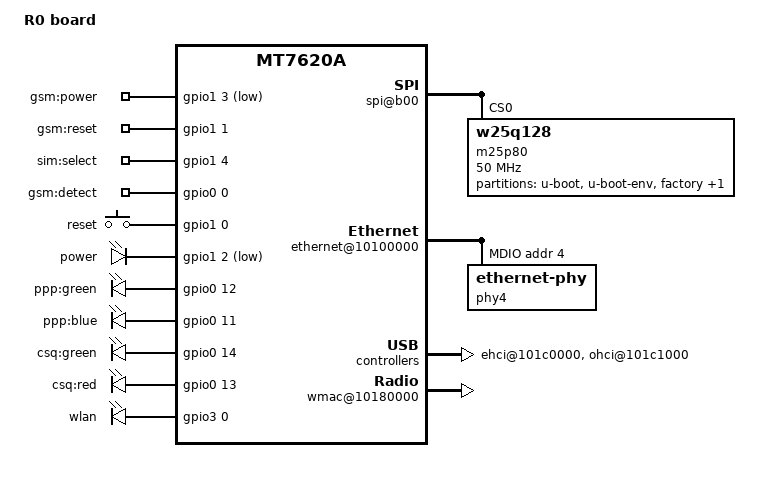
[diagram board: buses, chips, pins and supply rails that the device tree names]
/dts-v1/;

/include/ "mt7620a.dtsi"

/ {
	compatible = "ralink,irz_mt00", "ralink,mt7620a-soc";
	model = "R0 board";

	palmbus@10000000 {
		spi@b00 {
			status = "okay";

			m25p80@0 {
				#address-cells = <1>;
				#size-cells = <1>;
				compatible = "w25q128";
				reg = <0 0>;
				linux,modalias = "m25p80", "w25q128";
				spi-max-frequency = <50000000>;

				partition@0 {
					label = "u-boot";
					reg = <0x0 0x30000>;
				};

				partition@30000 {
					label = "u-boot-env";
					reg = <0x30000 0x10000>;
				};

				factory: partition@40000 {
					label = "factory";
					reg = <0x40000 0x10000>;
				};
				partition@50000 {
					label = "firmware";
					reg = <0x50000 0xbb0000>;
				};
				partition {
					label = "opt";
					reg = <0xc00000 0x400000>;
				};
			};
		};
	    	gpio@600 {
			status = "okay";
		};
		gpio@638 {
			status = "okay";
		};
		gpio@660 {
			status = "okay";
		};
		gpio@688 {
			status = "okay";
		};
	};

	pinctrl {
		state_default: pinctrl0 {
			gpio {
				ralink,group = "rgmii1", "rgmii2", "uartf", "pcie", "wled", "nd_sd";
				ralink,function = "gpio";
			};
		};
		
	};

	ethernet@10100000 {
		status = "okay";

		pinctrl-names = "default";
		pinctrl-0 = <&mdio_pins>;

		ralink,port-map = "lwwww";
		mtd-mac-address = <&factory 0x28>;

		port@4 {
			status = "okay";
			phy-mode = "disabled";
			phy-handle = <&phy4>;
		};

		mdio-bus {
			status = "okay";

			phy4: ethernet-phy@4 {
				reg = <4>;
				phy-mode = "ephy";
			};
		};
	};

	gsw@10110000 {
		ralink,port4 = "disabled";
	};

	pcie@10140000 {
		status = "disabled";
	};

	gpio {
		compatible = "gpio-export";
		GSM_POWER {
		    gpios = <&gpio1 3 1>;
		    gpio-export,name  = "gsm:power";
		    gpio-export,output = <1>;
		};
/*
		GSM_ENABLE {
		    gpios = <&gpio1 12 1>;
		    gpio-export,name  = "gsm:enable";
		    gpio-export,output = <1>;
		};
*/
		GSM_RESET {
		    gpios = <&gpio1 1 0>;
		    gpio-export,name  = "gsm:reset";
		    gpio-export,output = <0>;
		};

		SIM_SELECT {
		   gpios = <&gpio1 4 0>;
		   gpio-export,name = "sim:select";
		   gpio-export,output = <0>;
		};

		USB_DET {
		    gpios = <&gpio0 0 0>;
		    gpio-export,name  = "gsm:detect";
		    gpio-export,output = <0>;
		};
	};
	gpio-keys-polled {
		compatible = "gpio-keys-polled";
		#address-cells = <1>;
		#size-cells = <0>;
		poll-interval = <20>;
		reset {
			label = "reset";
			gpios = <&gpio1 0 0>;
			linux,code = <0x198>;
		};
	};
	gpio-leds {
		compatible = "gpio-leds";
		power {
			label = "power";
			gpios = <&gpio1 2 1>;
		};
		ppp_green {
			label = "ppp:green";
			gpios = <&gpio0 12 0>;
		};
		ppp_blue {
			label = "ppp:blue";
			gpios = <&gpio0 11 0>;
		};
		csq_green {
			label = "csq:green";
			gpios = <&gpio0 14 0>;
		};
		csq_red {
			label = "csq:red";
			gpios = <&gpio0 13 0>;
		};
		wlan {
			label = "wlan";
			gpios = <&gpio3 0 0>;
		};
	};
	ehci@101c0000 {
		status = "okay";
	};

	ohci@101c1000 {
		status = "okay";
	};
	wmac@10180000 {
		status = "okay";
		ralink,mtd-eeprom = <&factory 0>;
	};
};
